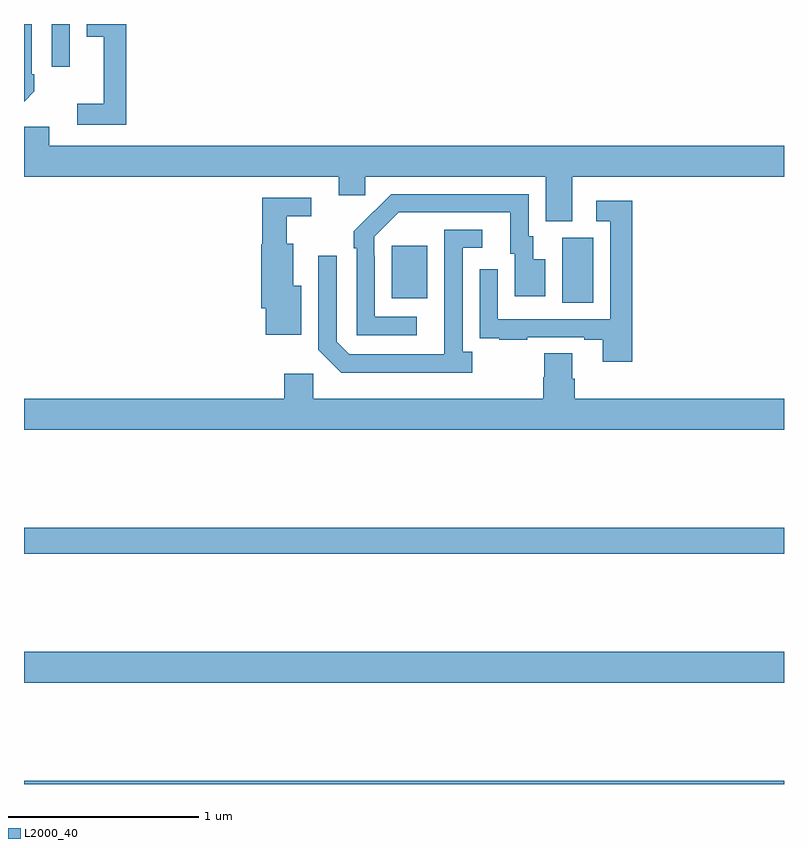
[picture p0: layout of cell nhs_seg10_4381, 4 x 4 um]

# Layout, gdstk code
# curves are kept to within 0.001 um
import gdstk
lib = gdstk.Library(unit=1e-6, precision=1e-09)
def R(c, l, rs):  # rectangles x0, y0, x1, y1
    for r in rs: c.add(gdstk.rectangle(r[:2], r[2:], *l))
def P(c, l, *ps):  # polygons
    for p in ps: c.add(gdstk.Polygon(p, *l))
L2000_40 = (2000, 40)

nhs_seg10_4381 = lib.new_cell('nhs_seg10_4381')
R(nhs_seg10_4381, L2000_40, [(359,1250.5,363,1250.516), (359,1251.032,363,1251.196), (359,1251.712,363,1251.848), (361.832,1253.032,361.996,1253.376), (360.935,1253.057,361.123,1253.332), (359.145,1254.276,359.241,1254.5)])
P(nhs_seg10_4381, L2000_40, [(359.055,1254.147),(359.055,1254.235),(359.04,1254.235),(359.04,1254.5),(359,1254.5),(359,1254.092)],
  [(359.537,1254.5),(359.33,1254.5),(359.33,1254.434),(359.42,1254.434),(359.42,1254.079),(359.28,1254.079),(359.28,1253.97),(359.537,1253.97)],
  [(361.885,1253.696),(363,1253.696),(363,1253.86),(359.134,1253.86),(359.134,1253.958),(359,1253.958),(359,1253.696),(360.656,1253.696),(360.656,1253.598),(360.795,1253.598),(360.795,1253.696),(361.745,1253.696),(361.745,1253.461),(361.885,1253.461)],
  [(361.066,1252.959),(360.846,1252.959),(360.846,1253.279),(360.843,1253.279),(360.843,1253.379),(360.972,1253.508),(361.559,1253.508),(361.559,1253.292),(361.583,1253.292),(361.583,1253.067),(361.744,1253.067),(361.744,1253.263),(361.681,1253.263),(361.681,1253.382),(361.656,1253.382),(361.656,1253.604),(360.932,1253.604),(360.735,1253.409),(360.735,1253.321),(360.75,1253.321),(360.75,1252.863),(361.066,1252.863)],
  [(360.46,1253.122),(360.418,1253.122),(360.418,1253.344),(360.382,1253.344),(360.382,1253.489),(360.511,1253.489),(360.511,1253.586),(360.253,1253.586),(360.253,1253.34),(360.248,1253.34),(360.248,1253.004),(360.272,1253.004),(360.272,1252.865),(360.46,1252.865)],
  [(362.201,1253.569),(362.013,1253.569),(362.013,1253.463),(362.085,1253.463),(362.085,1252.947),(361.494,1252.947),(361.494,1253.209),(361.398,1253.209),(361.398,1252.954),(361.399,1252.954),(361.399,1252.845),(361.501,1252.845),(361.501,1252.839),(361.649,1252.839),(361.649,1252.851),(361.949,1252.851),(361.949,1252.839),(362.045,1252.839),(362.045,1252.722),(362.201,1252.722)],
  [(361.36,1252.774),(361.308,1252.774),(361.308,1253.322),(361.411,1253.322),(361.411,1253.418),(361.212,1253.418),(361.211,1252.761),(360.711,1252.761),(360.645,1252.827),(360.645,1253.281),(360.549,1253.281),(360.549,1252.785),(360.67,1252.664),(361.36,1252.664)],
  [(363,1252.528),(361.898,1252.528),(361.898,1252.634),(361.885,1252.634),(361.885,1252.766),(361.738,1252.766),(361.738,1252.641),(361.733,1252.641),(361.733,1252.528),(360.522,1252.528),(360.522,1252.66),(360.371,1252.66),(360.371,1252.528),(359,1252.528),(359,1252.364),(363,1252.364)])

lib.write_gds('nhs_seg10_4381.gds')
